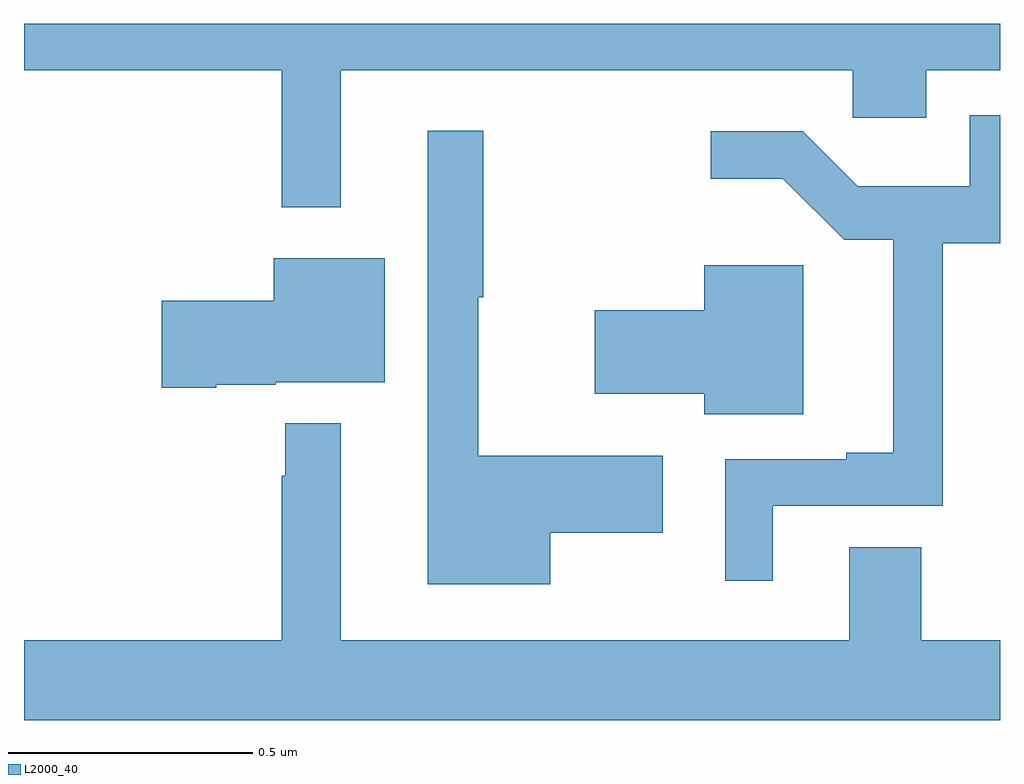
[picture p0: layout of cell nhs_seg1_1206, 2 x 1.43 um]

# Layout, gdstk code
import gdstk
lib = gdstk.Library(unit=1e-6, precision=1e-09)
def P(c, l, *ps):  # polygons
    for p in ps: c.add(gdstk.Polygon(p, *l))
L2000_40 = (2000, 40)

nhs_seg1_1206 = lib.new_cell('nhs_seg1_1206')
P(nhs_seg1_1206, L2000_40, [(126.649,513.104),(127.698,513.104),(127.698,513.006),(127.849,513.006),(127.849,513.104),(128,513.104),(128,513.199),(126,513.199),(126,513.104),(126.528,513.104),(126.528,512.823),(126.649,512.823)],
  [(127.534,512.211),(127.883,512.211),(127.883,512.749),(128,512.749),(128,513.012),(127.938,513.012),(127.938,512.866),(127.709,512.866),(127.596,512.979),(127.407,512.979),(127.407,512.882),(127.555,512.882),(127.681,512.757),(127.781,512.757),(127.781,512.32),(127.685,512.32),(127.685,512.307),(127.437,512.307),(127.437,512.058),(127.534,512.058)],
  [(127.078,512.156),(127.309,512.156),(127.309,512.314),(126.931,512.314),(126.931,512.639),(126.941,512.639),(126.941,512.98),(126.827,512.98),(126.827,512.051),(127.078,512.051)],
  [(126.394,512.459),(126.516,512.459),(126.516,512.465),(126.739,512.465),(126.739,512.719),(126.512,512.719),(126.512,512.631),(126.282,512.631),(126.282,512.453),(126.394,512.453)],
  [(127.597,512.704),(127.394,512.704),(127.394,512.612),(127.17,512.612),(127.17,512.441),(127.394,512.441),(127.394,512.399),(127.597,512.399)],
  [(128,511.936),(127.839,511.936),(127.839,512.126),(127.691,512.126),(127.691,511.936),(126.649,511.936),(126.649,512.38),(126.535,512.38),(126.535,512.273),(126.528,512.273),(126.528,511.936),(126,511.936),(126,511.772),(128,511.772)])

lib.write_gds('nhs_seg1_1206.gds')
